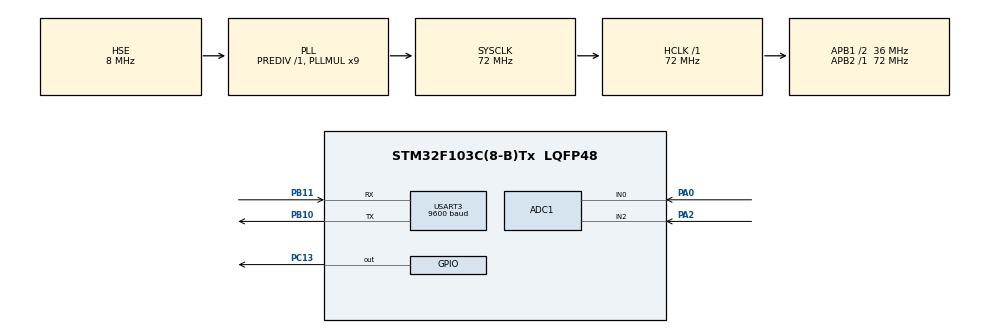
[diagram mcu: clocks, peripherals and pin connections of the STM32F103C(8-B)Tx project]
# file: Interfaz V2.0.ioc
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Mcu.Family=STM32F1
NVIC.USART3_IRQn=true\:0\:0\:false\:false\:true\:true\:true
Dma.USART3_RX.0.Instance=DMA1_Channel3
RCC.PLLSourceVirtual=RCC_PLLSOURCE_HSE
NVIC.ADC1_2_IRQn=true\:0\:0\:false\:false\:true\:true\:true
Dma.USART3_RX.0.PeriphInc=DMA_PINC_DISABLE
ADC1.Rank-0\#ChannelRegularConversion=1
Dma.ADC1.1.MemDataAlignment=DMA_MDATAALIGN_HALFWORD
PD1-OSC_OUT.Mode=HSE-External-Oscillator
PB10.Mode=Asynchronous
SH.ADCx_IN2.0=ADC1_IN2,IN2
PC13-TAMPER-RTC.Signal=GPIO_Output
PD0-OSC_IN.Signal=RCC_OSC_IN
RCC.APB1CLKDivider=RCC_HCLK_DIV2
PB11.Signal=USART3_RX
RCC.SYSCLKSource=RCC_SYSCLKSOURCE_PLLCLK
ProjectManager.StackSize=0x400
Dma.USART3_RX.0.Mode=DMA_CIRCULAR
PA0-WKUP.Signal=ADCx_IN0
PD1-OSC_OUT.Signal=RCC_OSC_OUT
RCC.ADCPresc=RCC_ADCPCLK2_DIV6
NVIC.DMA1_Channel3_IRQn=true\:0\:0\:false\:false\:true\:false\:true
PA13.Signal=SYS_JTMS-SWDIO
USART3.BaudRate=9600
PB11.Mode=Asynchronous
ProjectManager.TargetToolchain=STM32CubeIDE
Dma.ADC1.1.Instance=DMA1_Channel1
RCC.HCLKFreq_Value=72000000
RCC.APB2TimFreq_Value=72000000
TIM3.Period=1000
ADC1.Channel-1\#ChannelRegularConversion=ADC_CHANNEL_2
Dma.ADC1.1.PeriphDataAlignment=DMA_PDATAALIGN_HALFWORD
RCC.USBFreq_Value=72000000
RCC.AHBFreq_Value=72000000
PD0-OSC_IN.Mode=HSE-External-Oscillator
PB10.Signal=USART3_TX
ADC1.Channel-0\#ChannelRegularConversion=ADC_CHANNEL_0
Dma.USART3_RX.0.MemDataAlignment=DMA_MDATAALIGN_BYTE
board=custom
RCC.PLLMUL=RCC_PLL_MUL9
RCC.APB2Freq_Value=72000000
VP_TIM2_VS_ClockSourceINT.Mode=Internal
PA14.Mode=Serial_Wire
TIM3.Prescaler=720
NVIC.TIM2_IRQn=true\:0\:0\:false\:false\:true\:true\:true
Dma.USART3_RX.0.PeriphDataAlignment=DMA_PDATAALIGN_BYTE
Dma.ADC1.1.Priority=DMA_PRIORITY_LOW
Dma.ADC1.1.Mode=DMA_CIRCULAR
SH.ADCx_IN0.0=ADC1_IN0,IN0
Dma.ADC1.1.PeriphInc=DMA_PINC_DISABLE
TIM2.Period=21600
ADC1.NbrOfConversion=2
PA13.Mode=Serial_Wire
Mcu.Name=STM32F103C(8-B)Tx
ADC1.SamplingTime-0\#ChannelRegularConversion=ADC_SAMPLETIME_13CYCLES_5
PA2.Signal=ADCx_IN2
ADC1.ExternalTrigConv=ADC_EXTERNALTRIGCONV_T3_TRGO
ADC1.SamplingTime-1\#ChannelRegularConversion=ADC_SAMPLETIME_13CYCLES_5
RCC.SYSCLKFreq_VALUE=72000000
Dma.USART3_RX.0.Direction=DMA_PERIPH_TO_MEMORY
Mcu.Package=LQFP48
Dma.USART3_RX.0.Priority=DMA_PRIORITY_LOW
TIM2.Prescaler=10000
ADC1.master=1
USART3.VirtualMode=VM_ASYNC
Dma.ADC1.1.Direction=DMA_PERIPH_TO_MEMORY
RCC.EnbaleCSS=false
ADC1.Rank-1\#ChannelRegularConversion=2
Dma.ADC1.1.MemInc=DMA_MINC_ENABLE
PA14.Signal=SYS_JTCK-SWCLK
ProjectManager.HeapSize=0x200
Dma.USART3_RX.0.MemInc=DMA_MINC_ENABLE
NVIC.PriorityGroup=NVIC_PRIORITYGROUP_4
ADC1.NbrOfConversionFlag=1
Dma.Request1=ADC1
RCC.APB1TimFreq_Value=72000000
NVIC.DMA1_Channel1_IRQn=true\:0\:0\:false\:false\:true\:false\:true
TIM3.TIM_MasterOutputTrigger=TIM_TRGO_UPDATE
Dma.Request0=USART3_RX
RCC.APB1Freq_Value=36000000
VP_TIM3_VS_ClockSourceINT.Mode=Internal

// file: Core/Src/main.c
/* USER CODE BEGIN Header */
/**
  ******************************************************************************
  * @file           : main.c
  * @brief          : Main program body
  ******************************************************************************
  * @attention
  *
  * <h2><center>&copy; Copyright (c) 2021 STMicroelectronics.
  * All rights reserved.</center></h2>
  *
  * This software component is licensed by ST under BSD 3-Clause license,
  * the "License"; You may not use this file except in compliance with the
  * License. You may obtain a copy of the License at:
  *                        opensource.org/licenses/BSD-3-Clause
  *
  ******************************************************************************
  */
/* USER CODE END Header */
#include "main.h"

/* USER CODE BEGIN Includes */
#include "comm.h"
#include <string.h>
#include <stdio.h>
/* USER CODE END Includes */

ADC_HandleTypeDef hadc1;
DMA_HandleTypeDef hdma_adc1;

TIM_HandleTypeDef htim2;
TIM_HandleTypeDef htim3;

UART_HandleTypeDef huart3;
DMA_HandleTypeDef hdma_usart3_rx;

/* USER CODE BEGIN PV */

//variables para la comunicación serie
uint8_t uart3ReceivedData;
uint8_t inputBuffer[64];
volatile uint8_t inputIndex;
comando_in comandoUart;
volatile  uint8_t uart_rx_complete = 0;

volatile uint8_t tim2_period_complete = 0;

// Variables para el ADC
#define ADC_MAX_SAMPLES 6  // cantidad máxima de muestras que debe tomar el ADC
const uint8_t adcSamples = ADC_MAX_SAMPLES; // idem anterior

volatile uint16_t adcBuf[ADC_MAX_SAMPLES];  // Buffer para almacenar las muestras del ADC
volatile uint8_t adcConverted = 0;

/* USER CODE END PV */

void SystemClock_Config(void);
static void MX_GPIO_Init(void);
static void MX_DMA_Init(void);
static void MX_TIM2_Init(void);
static void MX_USART3_UART_Init(void);
static void MX_ADC1_Init(void);
static void MX_TIM3_Init(void);

int main(void)
{

  /* MCU Configuration--------------------------------------------------------*/

  /* Reset of all peripherals, Initializes the Flash interface and the Systick. */
  HAL_Init();

  /* Configure the system clock */
  SystemClock_Config();

  /* Initialize all configured peripherals */
  MX_GPIO_Init();
  MX_DMA_Init();
  MX_TIM2_Init();
  MX_USART3_UART_Init();
  MX_ADC1_Init();
  MX_TIM3_Init();
  /* USER CODE BEGIN 2 */

  HAL_TIM_Base_Start_IT(&htim2); // Inicializo el timer para enviar la secuencia "CONECTADO"

  HAL_UART_Receive_DMA(&huart3, &uart3ReceivedData, 1);

  HAL_TIM_Base_Start(&htim3);  //inicializo el timer para el adc

  HAL_ADC_Start_DMA(&hadc1, (uint32_t*) adcBuf, adcSamples); // Inicio el ADC en modo DMA,para que lea la
  	  	  	  	  	  	  	  	  	  	  	  	  	  	  	 // cantidad adcSamples y luego dispare la interrupción

  /* USER CODE END 2 */

  /* Infinite loop */
  while (1)
  {

    /* USER CODE BEGIN 3 */
	  if  (tim2_period_complete)
	  {
		  HAL_GPIO_TogglePin(GPIOC, GPIO_PIN_13);
		  tim2_period_complete = 0;
		  comm_send_conectado();
	  }

	  if (uart_rx_complete)
	  {
		  uart_rx_complete = 0;
		  comandoUart = comm_parse(inputBuffer);
		  comm_case(comandoUart);
	  }

	  if (adcConverted)
	  {
		  adcConverted = 0;
		  char adcStr[20];
		  sprintf(adcStr, "%d,%d,%d,%d,%d,%d\r\n", adcBuf[0], adcBuf[2], adcBuf[4], adcBuf[1], adcBuf[3], adcBuf[5]);
		  HAL_UART_Transmit(&huart3, (uint8_t*) adcStr, strlen(adcStr), 100);
	  }
  }
  /* USER CODE END 3 */
}

void SystemClock_Config(void)
{
  RCC_OscInitTypeDef RCC_OscInitStruct = {0};
  RCC_ClkInitTypeDef RCC_ClkInitStruct = {0};
  RCC_PeriphCLKInitTypeDef PeriphClkInit = {0};

  /** Initializes the RCC Oscillators according to the specified parameters
  * in the RCC_OscInitTypeDef structure.
  */
  RCC_OscInitStruct.OscillatorType = RCC_OSCILLATORTYPE_HSE;
  RCC_OscInitStruct.HSEState = RCC_HSE_ON;
  RCC_OscInitStruct.HSEPredivValue = RCC_HSE_PREDIV_DIV1;
  RCC_OscInitStruct.HSIState = RCC_HSI_ON;
  RCC_OscInitStruct.PLL.PLLState = RCC_PLL_ON;
  RCC_OscInitStruct.PLL.PLLSource = RCC_PLLSOURCE_HSE;
  RCC_OscInitStruct.PLL.PLLMUL = RCC_PLL_MUL9;
  if (HAL_RCC_OscConfig(&RCC_OscInitStruct) != HAL_OK)
  {
    Error_Handler();
  }
  /** Initializes the CPU, AHB and APB buses clocks
  */
  RCC_ClkInitStruct.ClockType = RCC_CLOCKTYPE_HCLK|RCC_CLOCKTYPE_SYSCLK
                              |RCC_CLOCKTYPE_PCLK1|RCC_CLOCKTYPE_PCLK2;
  RCC_ClkInitStruct.SYSCLKSource = RCC_SYSCLKSOURCE_PLLCLK;
  RCC_ClkInitStruct.AHBCLKDivider = RCC_SYSCLK_DIV1;
  RCC_ClkInitStruct.APB1CLKDivider = RCC_HCLK_DIV2;
  RCC_ClkInitStruct.APB2CLKDivider = RCC_HCLK_DIV1;

  if (HAL_RCC_ClockConfig(&RCC_ClkInitStruct, FLASH_LATENCY_2) != HAL_OK)
  {
    Error_Handler();
  }
  PeriphClkInit.PeriphClockSelection = RCC_PERIPHCLK_ADC;
  PeriphClkInit.AdcClockSelection = RCC_ADCPCLK2_DIV6;
  if (HAL_RCCEx_PeriphCLKConfig(&PeriphClkInit) != HAL_OK)
  {
    Error_Handler();
  }
}

static void MX_ADC1_Init(void)
{

  ADC_ChannelConfTypeDef sConfig = {0};

  /** Common config
  */
  hadc1.Instance = ADC1;
  hadc1.Init.ScanConvMode = ADC_SCAN_ENABLE;
  hadc1.Init.ContinuousConvMode = DISABLE;
  hadc1.Init.DiscontinuousConvMode = DISABLE;
  hadc1.Init.ExternalTrigConv = ADC_EXTERNALTRIGCONV_T3_TRGO;
  hadc1.Init.DataAlign = ADC_DATAALIGN_RIGHT;
  hadc1.Init.NbrOfConversion = 2;
  if (HAL_ADC_Init(&hadc1) != HAL_OK)
  {
    Error_Handler();
  }
  /** Configure Regular Channel
  */
  sConfig.Channel = ADC_CHANNEL_0;
  sConfig.Rank = ADC_REGULAR_RANK_1;
  sConfig.SamplingTime = ADC_SAMPLETIME_13CYCLES_5;
  if (HAL_ADC_ConfigChannel(&hadc1, &sConfig) != HAL_OK)
  {
    Error_Handler();
  }
  /** Configure Regular Channel
  */
  sConfig.Channel = ADC_CHANNEL_2;
  sConfig.Rank = ADC_REGULAR_RANK_2;
  if (HAL_ADC_ConfigChannel(&hadc1, &sConfig) != HAL_OK)
  {
    Error_Handler();
  }

}

static void MX_TIM2_Init(void)
{

  TIM_ClockConfigTypeDef sClockSourceConfig = {0};
  TIM_MasterConfigTypeDef sMasterConfig = {0};

  htim2.Instance = TIM2;
  htim2.Init.Prescaler = 10000;
  htim2.Init.CounterMode = TIM_COUNTERMODE_UP;
  htim2.Init.Period = 21600;
  htim2.Init.ClockDivision = TIM_CLOCKDIVISION_DIV1;
  htim2.Init.AutoReloadPreload = TIM_AUTORELOAD_PRELOAD_DISABLE;
  if (HAL_TIM_Base_Init(&htim2) != HAL_OK)
  {
    Error_Handler();
  }
  sClockSourceConfig.ClockSource = TIM_CLOCKSOURCE_INTERNAL;
  if (HAL_TIM_ConfigClockSource(&htim2, &sClockSourceConfig) != HAL_OK)
  {
    Error_Handler();
  }
  sMasterConfig.MasterOutputTrigger = TIM_TRGO_RESET;
  sMasterConfig.MasterSlaveMode = TIM_MASTERSLAVEMODE_DISABLE;
  if (HAL_TIMEx_MasterConfigSynchronization(&htim2, &sMasterConfig) != HAL_OK)
  {
    Error_Handler();
  }

}

static void MX_TIM3_Init(void)
{

  TIM_ClockConfigTypeDef sClockSourceConfig = {0};
  TIM_MasterConfigTypeDef sMasterConfig = {0};

  htim3.Instance = TIM3;
  htim3.Init.Prescaler = 720;
  htim3.Init.CounterMode = TIM_COUNTERMODE_UP;
  htim3.Init.Period = 1000;
  htim3.Init.ClockDivision = TIM_CLOCKDIVISION_DIV1;
  htim3.Init.AutoReloadPreload = TIM_AUTORELOAD_PRELOAD_DISABLE;
  if (HAL_TIM_Base_Init(&htim3) != HAL_OK)
  {
    Error_Handler();
  }
  sClockSourceConfig.ClockSource = TIM_CLOCKSOURCE_INTERNAL;
  if (HAL_TIM_ConfigClockSource(&htim3, &sClockSourceConfig) != HAL_OK)
  {
    Error_Handler();
  }
  sMasterConfig.MasterOutputTrigger = TIM_TRGO_UPDATE;
  sMasterConfig.MasterSlaveMode = TIM_MASTERSLAVEMODE_DISABLE;
  if (HAL_TIMEx_MasterConfigSynchronization(&htim3, &sMasterConfig) != HAL_OK)
  {
    Error_Handler();
  }

}

static void MX_USART3_UART_Init(void)
{

  huart3.Instance = USART3;
  huart3.Init.BaudRate = 9600;
  huart3.Init.WordLength = UART_WORDLENGTH_8B;
  huart3.Init.StopBits = UART_STOPBITS_1;
  huart3.Init.Parity = UART_PARITY_NONE;
  huart3.Init.Mode = UART_MODE_TX_RX;
  huart3.Init.HwFlowCtl = UART_HWCONTROL_NONE;
  huart3.Init.OverSampling = UART_OVERSAMPLING_16;
  if (HAL_UART_Init(&huart3) != HAL_OK)
  {
    Error_Handler();
  }

}

static void MX_DMA_Init(void)
{

  /* DMA controller clock enable */
  __HAL_RCC_DMA1_CLK_ENABLE();

  /* DMA interrupt init */
  /* DMA1_Channel1_IRQn interrupt configuration */
  HAL_NVIC_SetPriority(DMA1_Channel1_IRQn, 0, 0);
  HAL_NVIC_EnableIRQ(DMA1_Channel1_IRQn);
  /* DMA1_Channel3_IRQn interrupt configuration */
  HAL_NVIC_SetPriority(DMA1_Channel3_IRQn, 0, 0);
  HAL_NVIC_EnableIRQ(DMA1_Channel3_IRQn);

}

static void MX_GPIO_Init(void)
{
  GPIO_InitTypeDef GPIO_InitStruct = {0};

  /* GPIO Ports Clock Enable */
  __HAL_RCC_GPIOC_CLK_ENABLE();
  __HAL_RCC_GPIOD_CLK_ENABLE();
  __HAL_RCC_GPIOA_CLK_ENABLE();
  __HAL_RCC_GPIOB_CLK_ENABLE();

  /*Configure GPIO pin Output Level */
  HAL_GPIO_WritePin(GPIOC, GPIO_PIN_13, GPIO_PIN_RESET);

  /*Configure GPIO pin : PC13 */
  GPIO_InitStruct.Pin = GPIO_PIN_13;
  GPIO_InitStruct.Mode = GPIO_MODE_OUTPUT_PP;
  GPIO_InitStruct.Pull = GPIO_NOPULL;
  GPIO_InitStruct.Speed = GPIO_SPEED_FREQ_LOW;
  HAL_GPIO_Init(GPIOC, &GPIO_InitStruct);

}

void Error_Handler(void)
{
  __disable_irq();
  while (1)
  {
  }
}

/************************ (C) COPYRIGHT STMicroelectronics *****END OF FILE****/
